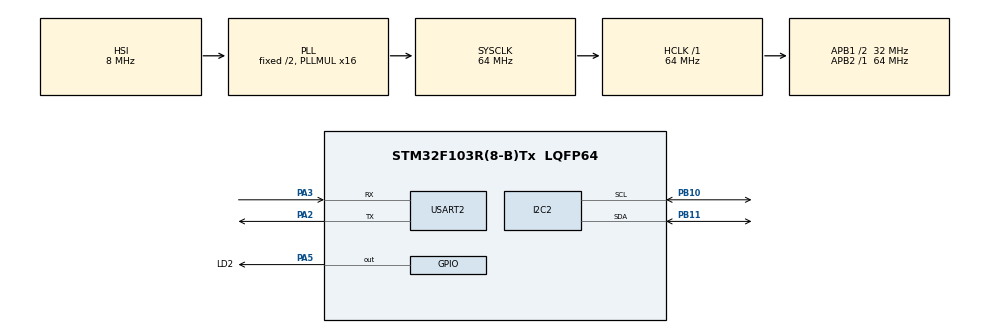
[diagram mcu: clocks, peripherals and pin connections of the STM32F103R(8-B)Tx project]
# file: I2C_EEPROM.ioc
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I2C2.I2C_Mode=I2C_Fast
Mcu.Family=STM32F1
Mcu.Name=STM32F103R(8-B)Tx
Mcu.Package=LQFP64
NVIC.PriorityGroup=NVIC_PRIORITYGROUP_4
PA13.Mode=Serial_Wire
PA13.Signal=SYS_JTMS-SWDIO
PA14.Mode=Serial_Wire
PA14.Signal=SYS_JTCK-SWCLK
PA2.Mode=Asynchronous
PA2.Signal=USART2_TX
PA3.Mode=Asynchronous
PA3.Signal=USART2_RX
PA5.GPIO_Label=LD2
PA5.Signal=GPIO_Output
PB10.Mode=I2C
PB10.Signal=I2C2_SCL
PB11.Mode=I2C
PB11.Signal=I2C2_SDA
ProjectManager.HeapSize=0x200
ProjectManager.StackSize=0x400
ProjectManager.TargetToolchain=STM32CubeIDE
RCC.AHBFreq_Value=64000000
RCC.APB1CLKDivider=RCC_HCLK_DIV2
RCC.APB1Freq_Value=32000000
RCC.APB1TimFreq_Value=64000000
RCC.APB2Freq_Value=64000000
RCC.APB2TimFreq_Value=64000000
RCC.HCLKFreq_Value=64000000
RCC.PLLMUL=RCC_PLL_MUL16
RCC.SYSCLKFreq_VALUE=64000000
RCC.SYSCLKSource=RCC_SYSCLKSOURCE_PLLCLK
RCC.USBFreq_Value=64000000
USART2.VirtualMode=VM_ASYNC
board=custom

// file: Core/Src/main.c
/* USER CODE BEGIN Header */
/**
  ******************************************************************************
  * @file           : main.c
  * @brief          : Main program body
  ******************************************************************************
  * @attention
  *
  * <h2><center>&copy; Copyright (c) 2020 STMicroelectronics.
  * All rights reserved.</center></h2>
  *
  * This software component is licensed by ST under BSD 3-Clause license,
  * the "License"; You may not use this file except in compliance with the
  * License. You may obtain a copy of the License at:
  *                        opensource.org/licenses/BSD-3-Clause
  *
  ******************************************************************************
  */
/* USER CODE END Header */

#include "main.h"

/* USER CODE BEGIN Includes */
#include <stdio.h>
#include <string.h>
#include "at24c\at24c.h"

/* USER CODE END Includes */

I2C_HandleTypeDef hi2c2;

UART_HandleTypeDef huart2;

void SystemClock_Config(void);
static void MX_GPIO_Init(void);
static void MX_I2C2_Init(void);
static void MX_USART2_UART_Init(void);

/* USER CODE BEGIN 0 */
#ifdef __GNUC__
#define PUTCHAR_PROTOTYPE int __io_putchar(int ch)
#else
#define PUTCHAR_PROTOTYPE int fputc(int ch, FILE *f)
#endif /* __GNUC__ */

/**
 * @brief  Retargets the C library printf function to the USART.
 * @param  None
 * @retval None
 */
PUTCHAR_PROTOTYPE
{
  /* Place your implementation of fputc here */
  /* e.g. write a character to the UART2 and Loop until the end of transmission */
  if (ch == '\n')
    HAL_UART_Transmit (&huart2, (uint8_t*) "\r", 1, 0xFFFF);

  HAL_UART_Transmit (&huart2, (uint8_t*) &ch, 1, 0xFFFF);

  return ch;
}
/* USER CODE END 0 */

int main(void)
{
  /* USER CODE BEGIN 1 */
  uint8_t i, eeprom[32];
  /* USER CODE END 1 */

  /* MCU Configuration--------------------------------------------------------*/

  /* Reset of all peripherals, Initializes the Flash interface and the Systick. */
  HAL_Init();

  /* Configure the system clock */
  SystemClock_Config();

  /* Initialize all configured peripherals */
  MX_GPIO_Init();
  MX_I2C2_Init();
  MX_USART2_UART_Init();
  /* USER CODE BEGIN 2 */
  printf ("\nNUCLEO_F103RB EEPROM P/G[%s]\n", __TIMESTAMP__);
  printf ("SYSCLK Frequency = %d\n", (int) HAL_RCC_GetSysClockFreq ());
  printf ("HCLK   Frequency = %d\n", (int) HAL_RCC_GetHCLKFreq ());
  printf ("PCLK   Frequency = %d\n", (int) HAL_RCC_GetPCLK1Freq ());
  /* USER CODE END 2 */

  /* Infinite loop */
  /* USER CODE BEGIN WHILE */

  if (AT24C_Read (&hi2c2, 0, eeprom, sizeof(eeprom)) != HAL_OK)
    {
      printf ("AT24C_Read error\n");
    }

  for (i = 0; i < sizeof(eeprom); i++)
    printf ("%02X ", eeprom[i]);
  printf ("\n");

  uint8_t val = eeprom[0] + 1;

  memset (eeprom, val, sizeof(eeprom));
  if (AT24C_Write (&hi2c2, 0, eeprom, sizeof(eeprom)) != HAL_OK)
    {
      printf ("AT24C_Write error\n");
    }

  while (1)
    {
      HAL_GPIO_TogglePin (LD2_GPIO_Port, LD2_Pin);
      HAL_Delay (500);
      /* USER CODE END WHILE */

    }
}

void SystemClock_Config(void)
{
  RCC_OscInitTypeDef RCC_OscInitStruct = {0};
  RCC_ClkInitTypeDef RCC_ClkInitStruct = {0};

  /** Initializes the CPU, AHB and APB busses clocks
  */
  RCC_OscInitStruct.OscillatorType = RCC_OSCILLATORTYPE_HSI;
  RCC_OscInitStruct.HSIState = RCC_HSI_ON;
  RCC_OscInitStruct.HSICalibrationValue = RCC_HSICALIBRATION_DEFAULT;
  RCC_OscInitStruct.PLL.PLLState = RCC_PLL_ON;
  RCC_OscInitStruct.PLL.PLLSource = RCC_PLLSOURCE_HSI_DIV2;
  RCC_OscInitStruct.PLL.PLLMUL = RCC_PLL_MUL16;
  if (HAL_RCC_OscConfig(&RCC_OscInitStruct) != HAL_OK)
  {
    Error_Handler();
  }
  /** Initializes the CPU, AHB and APB busses clocks
  */
  RCC_ClkInitStruct.ClockType = RCC_CLOCKTYPE_HCLK|RCC_CLOCKTYPE_SYSCLK
                              |RCC_CLOCKTYPE_PCLK1|RCC_CLOCKTYPE_PCLK2;
  RCC_ClkInitStruct.SYSCLKSource = RCC_SYSCLKSOURCE_PLLCLK;
  RCC_ClkInitStruct.AHBCLKDivider = RCC_SYSCLK_DIV1;
  RCC_ClkInitStruct.APB1CLKDivider = RCC_HCLK_DIV2;
  RCC_ClkInitStruct.APB2CLKDivider = RCC_HCLK_DIV1;

  if (HAL_RCC_ClockConfig(&RCC_ClkInitStruct, FLASH_LATENCY_2) != HAL_OK)
  {
    Error_Handler();
  }
}

static void MX_I2C2_Init(void)
{

  hi2c2.Instance = I2C2;
  hi2c2.Init.ClockSpeed = 400000;
  hi2c2.Init.DutyCycle = I2C_DUTYCYCLE_2;
  hi2c2.Init.OwnAddress1 = 0;
  hi2c2.Init.AddressingMode = I2C_ADDRESSINGMODE_7BIT;
  hi2c2.Init.DualAddressMode = I2C_DUALADDRESS_DISABLE;
  hi2c2.Init.OwnAddress2 = 0;
  hi2c2.Init.GeneralCallMode = I2C_GENERALCALL_DISABLE;
  hi2c2.Init.NoStretchMode = I2C_NOSTRETCH_DISABLE;
  if (HAL_I2C_Init(&hi2c2) != HAL_OK)
  {
    Error_Handler();
  }

}

static void MX_USART2_UART_Init(void)
{

  huart2.Instance = USART2;
  huart2.Init.BaudRate = 115200;
  huart2.Init.WordLength = UART_WORDLENGTH_8B;
  huart2.Init.StopBits = UART_STOPBITS_1;
  huart2.Init.Parity = UART_PARITY_NONE;
  huart2.Init.Mode = UART_MODE_TX_RX;
  huart2.Init.HwFlowCtl = UART_HWCONTROL_NONE;
  huart2.Init.OverSampling = UART_OVERSAMPLING_16;
  if (HAL_UART_Init(&huart2) != HAL_OK)
  {
    Error_Handler();
  }

}

static void MX_GPIO_Init(void)
{
  GPIO_InitTypeDef GPIO_InitStruct = {0};

  /* GPIO Ports Clock Enable */
  __HAL_RCC_GPIOA_CLK_ENABLE();
  __HAL_RCC_GPIOB_CLK_ENABLE();

  /*Configure GPIO pin Output Level */
  HAL_GPIO_WritePin(LD2_GPIO_Port, LD2_Pin, GPIO_PIN_RESET);

  /*Configure GPIO pin : LD2_Pin */
  GPIO_InitStruct.Pin = LD2_Pin;
  GPIO_InitStruct.Mode = GPIO_MODE_OUTPUT_PP;
  GPIO_InitStruct.Pull = GPIO_NOPULL;
  GPIO_InitStruct.Speed = GPIO_SPEED_FREQ_LOW;
  HAL_GPIO_Init(LD2_GPIO_Port, &GPIO_InitStruct);

}

void Error_Handler(void)
{
}

/************************ (C) COPYRIGHT STMicroelectronics *****END OF FILE****/
